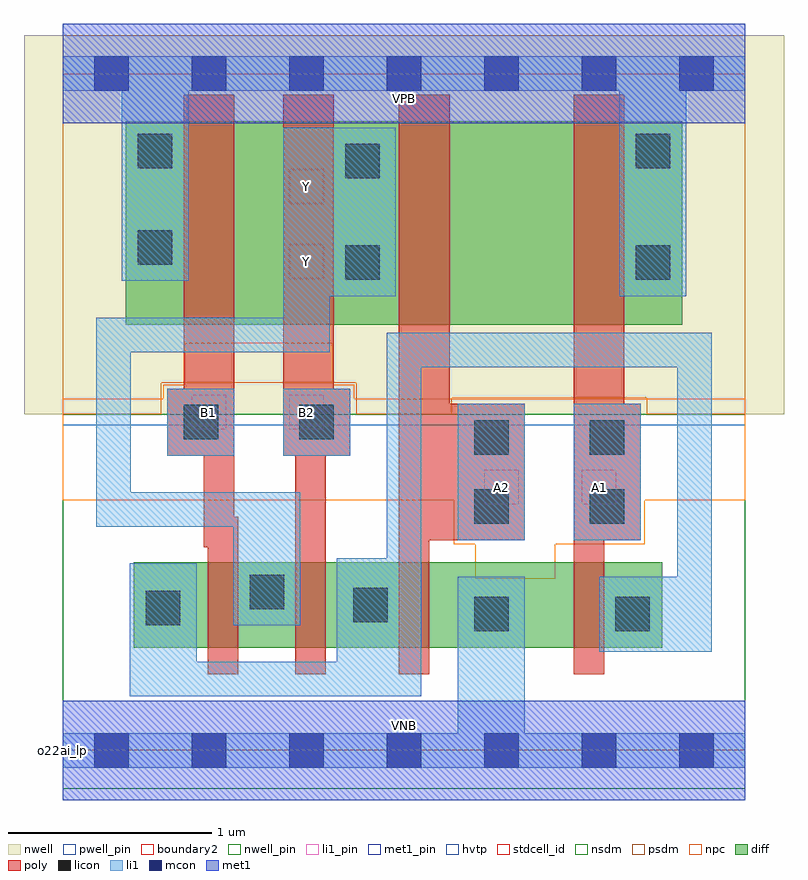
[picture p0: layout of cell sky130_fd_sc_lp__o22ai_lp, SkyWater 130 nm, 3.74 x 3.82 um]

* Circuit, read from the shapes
.subckt sky130_fd_sc_lp__o22ai_lp A1 A2 B1 B2 VGND VNB VPB VPWR Y
XM1 Y B1 n1 VNB sky130_fd_pr__nfet_01v8 w=0.42 l=0.15
XM2 n1 B2 Y VNB sky130_fd_pr__nfet_01v8 w=0.42 l=0.15
XM3 VGND A2 n1 VNB sky130_fd_pr__nfet_01v8 w=0.42 l=0.15
XM4 n1 A1 VGND VNB sky130_fd_pr__nfet_01v8 w=0.42 l=0.15
XM5 n2 B1 VPWR VPB sky130_fd_pr__pfet_01v8_hvt w=1 l=0.25
XM6 Y B2 n2 VPB sky130_fd_pr__pfet_01v8_hvt w=1 l=0.25
XM7 n3 A2 Y VPB sky130_fd_pr__pfet_01v8_hvt w=1 l=0.25
XM8 VPWR A1 n3 VPB sky130_fd_pr__pfet_01v8_hvt w=1 l=0.25
.ends

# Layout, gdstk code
import gdstk
lib = gdstk.Library(unit=1e-6, precision=1e-09)
def R(c, l, rs):  # rectangles x0, y0, x1, y1
    for r in rs: c.add(gdstk.rectangle(r[:2], r[2:], *l))
def A(c, l, x, y, w, h, nx, ny, dx, dy):  # array of equal rectangles
    R(c, l, [(x+i*dx, y+j*dy, x+i*dx+w, y+j*dy+h) for i in range(nx) for j in range(ny)])
def P(c, l, *ps):  # polygons
    for p in ps: c.add(gdstk.Polygon(p, *l))
nwell_pin = (64, 16)
nwell = (64, 20)
diff = (65, 20)
poly = (66, 20)
licon = (66, 44)
li1_pin = (67, 16)
li1 = (67, 20)
mcon = (67, 44)
met1_pin = (68, 16)
met1 = (68, 20)
hvtp = (78, 44)
stdcell_id = (81, 4)
nsdm = (93, 44)
psdm = (94, 20)
npc = (95, 20)
pwell_pin = (122, 16)
boundary2 = (236, 0)

sky130_fd_sc_lp__o22ai_l = lib.new_cell('sky130_fd_sc_lp__o22ai_lp')
R(sky130_fd_sc_lp__o22ai_l, nwell_pin, [(0,3.085,3.36,3.33)])
R(sky130_fd_sc_lp__o22ai_l, nwell, [(-0.19,1.655,3.55,3.52)])
R(sky130_fd_sc_lp__o22ai_l, diff, [(0.35,0.505,2.95,0.925), (0.31,2.095,3.05,3.095)])
P(sky130_fd_sc_lp__o22ai_l, poly, [(0.865,1.15),(0.845,1.15),(0.845,3.225),(0.595,3.225),(0.595,1.78),(0.515,1.78),(0.515,1.45),(0.695,1.45),(0.695,1),(0.715,1),(0.715,0.375),(0.865,0.375)],
  [(1.415,1.78),(1.335,1.78),(1.335,3.225),(1.085,3.225),(1.085,1.45),(1.145,1.45),(1.145,0.375),(1.295,0.375),(1.295,1.45),(1.415,1.45)],
  [(2.275,1.705),(1.905,1.705),(1.905,3.225),(1.655,3.225),(1.655,0.375),(1.805,0.375),(1.805,1.035),(2.275,1.035)],
  [(2.845,1.705),(2.765,1.705),(2.765,3.225),(2.515,3.225),(2.515,0.375),(2.665,0.375),(2.665,1.035),(2.845,1.035)])
R(sky130_fd_sc_lp__o22ai_l, licon, [(2.025,0.585,2.195,0.755), (2.72,0.585,2.89,0.755), (0.41,0.615,0.58,0.785), (1.43,0.63,1.6,0.8), (0.92,0.695,1.09,0.865), (2.025,1.115,2.195,1.285), (2.595,1.115,2.765,1.285), (2.025,1.455,2.195,1.625), (2.595,1.455,2.765,1.625), (0.595,1.53,0.765,1.7), (1.165,1.53,1.335,1.7), (1.39,2.315,1.56,2.485), (2.82,2.315,2.99,2.485), (0.37,2.39,0.54,2.56), (1.39,2.815,1.56,2.985), (0.37,2.865,0.54,3.035), (2.82,2.865,2.99,3.035)])
R(sky130_fd_sc_lp__o22ai_l, li1_pin, [(2.075,1.21,2.245,1.38), (2.555,1.21,2.725,1.38), (0.635,1.58,0.805,1.75), (1.115,1.58,1.285,1.75), (1.115,2.32,1.285,2.49), (1.115,2.69,1.285,2.86)])
R(sky130_fd_sc_lp__o22ai_l, li1, [(1.945,1.035,2.275,1.705), (2.515,1.035,2.845,1.705), (0.515,1.45,0.845,1.78), (1.085,1.45,1.415,1.78)])
P(sky130_fd_sc_lp__o22ai_l, li1, [(2.74,2.235),(2.74,3.245),(0.62,3.245),(0.62,2.31),(0.29,2.31),(0.29,3.245),(0,3.245),(0,3.415),(3.36,3.415),(3.36,3.245),(3.07,3.245),(3.07,2.235)],
  [(1.945,0.085),(1.945,0.855),(2.275,0.855),(2.275,0.085),(3.36,0.085),(3.36,-0.085),(0,-0.085),(0,0.085)],
  [(0.165,2.13),(1.085,2.13),(1.085,3.065),(1.64,3.065),(1.64,2.235),(1.315,2.235),(1.315,1.96),(0.335,1.96),(0.335,1.27),(1.17,1.27),(1.17,0.615),(0.84,0.615),(0.84,1.1),(0.165,1.1)],
  [(1.35,0.435),(1.35,0.945),(1.595,0.945),(1.595,2.055),(3.195,2.055),(3.195,0.485),(2.64,0.485),(2.64,0.855),(3.025,0.855),(3.025,1.885),(1.765,1.885),(1.765,0.265),(0.33,0.265),(0.33,0.92),(0.66,0.92),(0.66,0.435)])
A(sky130_fd_sc_lp__o22ai_l, mcon, 0.155, -0.085, 0.17, 0.17, 7, 2, 0.48, 3.33)
R(sky130_fd_sc_lp__o22ai_l, met1_pin, [(0,0,3.36,0.245), (0,3.085,3.36,3.33)])
R(sky130_fd_sc_lp__o22ai_l, met1, [(0,-0.245,3.36,0.245), (0,3.085,3.36,3.575)])
R(sky130_fd_sc_lp__o22ai_l, hvtp, [(0,1.6,3.36,3.33)])
R(sky130_fd_sc_lp__o22ai_l, stdcell_id, [(0,0,3.36,3.33)])
R(sky130_fd_sc_lp__o22ai_l, nsdm, [(0,-0.19,3.36,1.655)])
P(sky130_fd_sc_lp__o22ai_l, psdm, [(3.36,3.52),(0,3.52),(0,1.655),(0.485,1.655),(0.485,1.81),(1.445,1.81),(1.445,1.655),(1.915,1.655),(1.915,1.735),(2.875,1.735),(2.875,1.655),(3.36,1.655)])
P(sky130_fd_sc_lp__o22ai_l, npc, [(3.36,1.73),(1.435,1.73),(1.435,1.8),(1.33,1.8),(1.33,2.005),(0.6,2.005),(0.6,1.8),(0.495,1.8),(0.495,1.73),(0,1.73),(0,1.23),(1.925,1.23),(1.925,1.015),(2.03,1.015),(2.03,0.845),(2.425,0.845),(2.425,1.015),(2.865,1.015),(2.865,1.23),(3.36,1.23)])
R(sky130_fd_sc_lp__o22ai_l, pwell_pin, [(0,0,3.36,0.245)])
R(sky130_fd_sc_lp__o22ai_l, boundary2, [(0,0,3.36,3.33)])
sky130_fd_sc_lp__o22ai_l.add(gdstk.Label('VNB', (1.68,0.123), layer=64, texttype=59))
sky130_fd_sc_lp__o22ai_l.add(gdstk.Label('VPB', (1.68,3.208), layer=64, texttype=5))
sky130_fd_sc_lp__o22ai_l.add(gdstk.Label('o22ai_lp', (0,0), layer=83, texttype=44))
sky130_fd_sc_lp__o22ai_l.add(gdstk.Label('VPWR', (1.68,3.208), layer=68, texttype=5))
sky130_fd_sc_lp__o22ai_l.add(gdstk.Label('VGND', (1.68,0.123), layer=68, texttype=5))
sky130_fd_sc_lp__o22ai_l.add(gdstk.Label('Y', (1.2,2.405), layer=67, texttype=5))
sky130_fd_sc_lp__o22ai_l.add(gdstk.Label('Y', (1.2,2.775), layer=67, texttype=5))
sky130_fd_sc_lp__o22ai_l.add(gdstk.Label('B2', (1.2,1.665), layer=67, texttype=5))
sky130_fd_sc_lp__o22ai_l.add(gdstk.Label('B1', (0.72,1.665), layer=67, texttype=5))
sky130_fd_sc_lp__o22ai_l.add(gdstk.Label('A2', (2.16,1.295), layer=67, texttype=5))
sky130_fd_sc_lp__o22ai_l.add(gdstk.Label('A1', (2.64,1.295), layer=67, texttype=5))

lib.write_gds('sky130_fd_sc_lp__o22ai_lp.gds')
